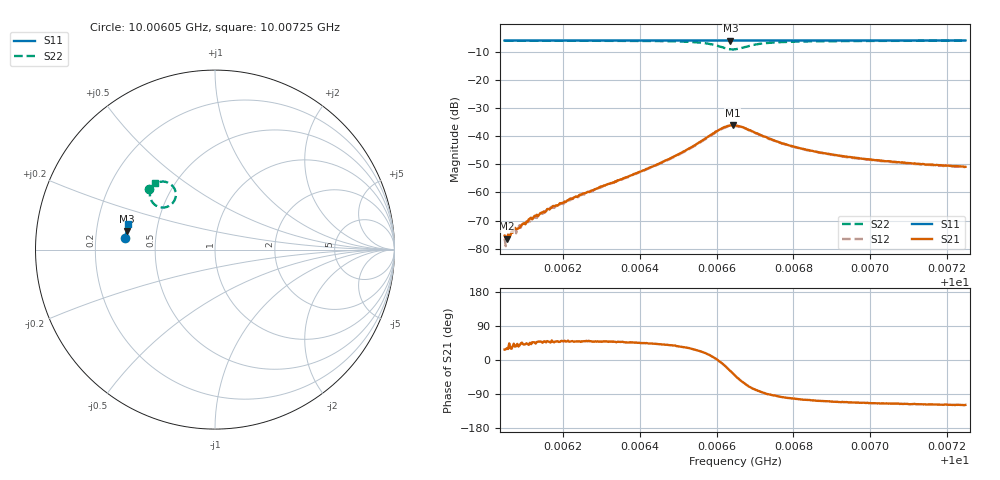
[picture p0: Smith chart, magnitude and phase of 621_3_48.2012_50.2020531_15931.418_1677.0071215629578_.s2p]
#  HZ  S  RI  R  50.00
! Rohde & Schwarz Vector Network Analyzer
! Rohde-Schwarz,ZNB20-2Port,1311601062101988,3.16
! Created: UTC 3/20/2024, 12:03:55 PM
! freq[Hz]  re:S11  im:S11  re:S21  im:S21  re:S12  im:S12  re:S22  im:S22
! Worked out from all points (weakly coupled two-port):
!   401 points, 10.00605 GHz to 10.00725 GHz, reference 50 ohm
!   highest |S21| = -36.12 dB at 10.00664 GHz (marker M1); lowest = -76.5 dB at 10.00605 GHz (marker M2)
!   lowest |S11| = -6.0 dB at 10.00664 GHz (marker M3), VSWR 3.02, Z = 16.7 + j4.52 ohm
!   |S11| at or under -10 dB: nowhere
!   |S22| runs from -9.1 to -6.0 dB; largest |S21 - S12| = 0.0012
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1.0006047e10  -0.4992 0.0633  0.000152 7.92e-05  0.000118 9.38e-05  -0.3657 0.3391
1.0006053e10  -0.4991 0.0639  0.000129 7.78e-05  0.000131 0.000103  -0.3654 0.3394
1.0006068e10  -0.4991 0.0649  0.000155 0.000114  0.000163 0.000144  -0.3644 0.3405
1.0006083e10  -0.4988 0.0658  0.000188 0.000134  0.000171 0.000173  -0.3635 0.3414
1.0006089e10  -0.4987 0.0662  0.000184 0.000174  0.000169 0.000165  -0.3631 0.3418
1.0006122e10  -0.4986 0.0684  0.000247 0.000263  0.000233 0.000272  -0.3609 0.3441
1.000617e10  -0.4983 0.0714  0.000336 0.000425  0.00035 0.000428  -0.3577 0.3478
1.0006248e10  -0.4976 0.0768  0.000607 0.000709  0.000544 0.000728  -0.3514 0.3537
1.000645e10  -0.4957 0.0898  0.00242 0.00216  0.00227 0.00225  -0.3223 0.373
1.0006507e10  -0.4949 0.0936  0.00413 0.00289  0.00388 0.00304  -0.302 0.3786
1.0006573e10  -0.4938 0.0979  0.0089 0.00276  0.00854 0.00315  -0.2548 0.3696
1.0006615e10  -0.4927 0.1001  0.0138 -0.00225  0.0135 -0.00155  -0.2188 0.3137
1.0006636e10  -0.4924 0.101  0.0136 -0.00763  0.0136 -0.00651  -0.2307 0.266
1.0006642e10  -0.4925 0.1011  0.0128 -0.009  0.013 -0.00804  -0.2405 0.2545
1.0006648e10  -0.4924 0.1015  0.0117 -0.0102  0.012 -0.00915  -0.2522 0.2452
1.0006672e10  -0.4925 0.1026  0.00684 -0.0123  0.00746 -0.0118  -0.3034 0.2355
1.0006714e10  -0.4927 0.1055  0.00114 -0.0105  0.00173 -0.0104  -0.3514 0.2676
1.0006771e10  -0.4923 0.1092  -0.00104 -0.00741  -0.000627 -0.00736  -0.3627 0.3043
1.0006849e10  -0.4915 0.1146  -0.00155 -0.00529  -0.00128 -0.00528  -0.3593 0.3301
1.0006933e10  -0.4903 0.1199  -0.00158 -0.00409  -0.00135 -0.0041  -0.353 0.345
1.000705e10  -0.4887 0.1275  -0.0015 -0.00326  -0.00133 -0.00325  -0.345 0.3581
1.0007249e10  -0.4857 0.1399  -0.00137 -0.00251  -0.00122 -0.00253  -0.3327 0.373
